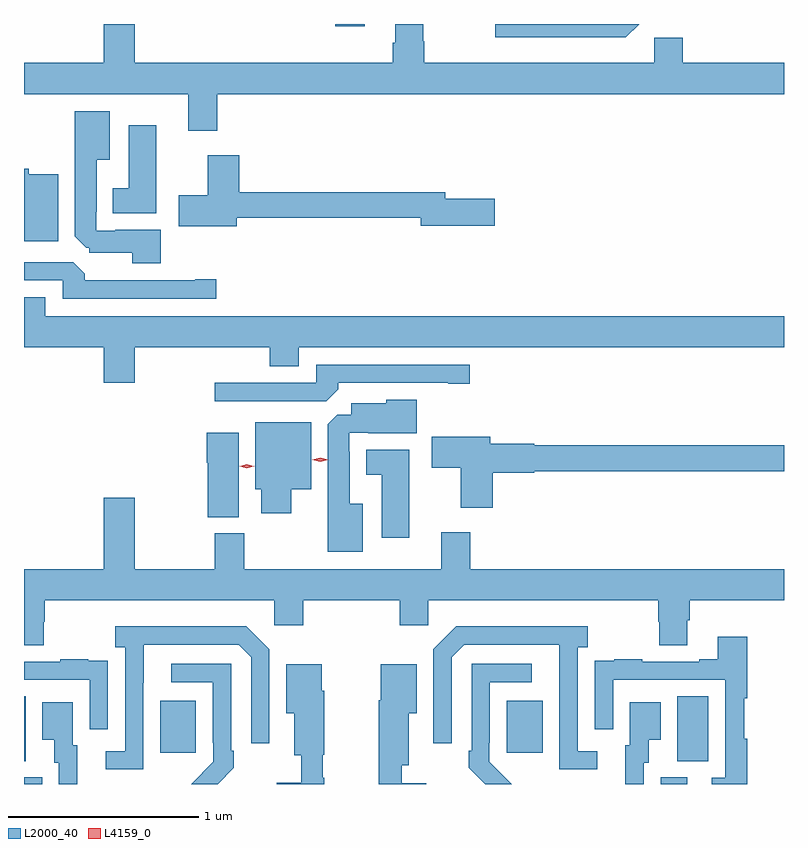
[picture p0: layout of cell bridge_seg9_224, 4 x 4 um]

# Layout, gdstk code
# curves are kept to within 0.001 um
import gdstk
lib = gdstk.Library(unit=1e-6, precision=1e-09)
def R(c, l, rs):  # rectangles x0, y0, x1, y1
    for r in rs: c.add(gdstk.rectangle(r[:2], r[2:], *l))
def P(c, l, *ps):  # polygons
    for p in ps: c.add(gdstk.Polygon(p, *l))
L2000_40 = (2000, 40)
L4159_0 = (4159, 0)

bridge_seg9_224 = lib.new_cell('bridge_seg9_224')
R(bridge_seg9_224, L2000_40, [(188.564,1203.445,188.659,1203.48), (191.915,1203.445,192.055,1203.48), (188.564,1203.565,188.572,1203.908), (192.002,1203.565,192.166,1203.908), (189.281,1203.609,189.469,1203.883), (191.105,1203.609,191.293,1203.883), (190.201,1207.434,190.357,1207.445)])
P(bridge_seg9_224, L2000_40, [(191.801,1207.445),(191.043,1207.445),(191.043,1207.376),(191.732,1207.376)],
  [(189.581,1207.076),(192.564,1207.076),(192.564,1207.24),(192.032,1207.24),(192.032,1207.372),(191.88,1207.372),(191.88,1207.24),(190.67,1207.24),(190.67,1207.353),(190.665,1207.353),(190.665,1207.445),(190.517,1207.445),(190.517,1207.346),(190.505,1207.346),(190.505,1207.24),(189.148,1207.24),(189.148,1207.445),(188.984,1207.445),(188.984,1207.24),(188.564,1207.24),(188.564,1207.076),(189.428,1207.076),(189.428,1206.882),(189.581,1206.882)],
  [(189.283,1206.361),(189.043,1206.361),(189.043,1206.357),(188.943,1206.357),(188.943,1206.457),(188.947,1206.457),(188.947,1206.731),(189.016,1206.731),(189.016,1206.985),(188.831,1206.985),(188.831,1206.327),(188.891,1206.267),(188.907,1206.267),(188.907,1206.24),(189.134,1206.24),(189.134,1206.185),(189.283,1206.185)],
  [(189.259,1206.913),(189.116,1206.913),(189.116,1206.58),(189.032,1206.58),(189.032,1206.449),(189.259,1206.449)],
  [(189.685,1206.424),(190.652,1206.424),(190.652,1206.382),(191.041,1206.382),(191.041,1206.524),(190.78,1206.524),(190.78,1206.56),(189.698,1206.56),(189.698,1206.754),(189.53,1206.754),(189.53,1206.543),(189.378,1206.543),(189.378,1206.38),(189.685,1206.38)],
  [(188.743,1206.655),(188.589,1206.655),(188.589,1206.682),(188.564,1206.682),(188.564,1206.302),(188.743,1206.302)],
  [(189.577,1206.101),(189.464,1206.101),(189.464,1206.096),(188.885,1206.096),(188.885,1206.13),(188.823,1206.192),(188.564,1206.192),(188.564,1206.096),(188.769,1206.096),(188.769,1206),(189.577,1206)],
  [(189.148,1205.744),(189.857,1205.744),(189.857,1205.645),(190.009,1205.645),(190.009,1205.744),(192.564,1205.744),(192.564,1205.908),(188.677,1205.908),(188.677,1206.007),(188.564,1206.007),(188.564,1205.744),(188.984,1205.744),(188.984,1205.556),(189.148,1205.556)],
  [(190.217,1205.522),(190.217,1205.556),(190.796,1205.556),(190.796,1205.551),(190.909,1205.551),(190.909,1205.652),(190.101,1205.652),(190.101,1205.556),(189.567,1205.556),(189.567,1205.46),(190.155,1205.46)],
  [(190.348,1204.921),(190.279,1204.921),(190.279,1205.195),(190.275,1205.195),(190.275,1205.295),(190.375,1205.295),(190.375,1205.291),(190.63,1205.291),(190.63,1205.467),(190.47,1205.467),(190.47,1205.449),(190.286,1205.449),(190.286,1205.388),(190.212,1205.388),(190.163,1205.339),(190.163,1204.667),(190.348,1204.667)],
  [(189.97,1204.997),(190.075,1204.997),(190.075,1205.35),(189.782,1205.35),(189.782,1204.997),(189.812,1204.997),(189.812,1204.869),(189.97,1204.869)],
  [(189.694,1205.293),(189.527,1205.293),(189.527,1205.135),(189.532,1205.135),(189.532,1204.849),(189.694,1204.849)],
  [(191.03,1205.084),(191.25,1205.084),(191.25,1205.092),(192.564,1205.092),(192.564,1205.228),(191.25,1205.228),(191.25,1205.236),(191.017,1205.236),(191.017,1205.272),(190.71,1205.272),(190.71,1205.11),(190.862,1205.11),(190.862,1204.899),(191.03,1204.899)],
  [(190.591,1205.203),(190.364,1205.203),(190.364,1205.072),(190.448,1205.072),(190.448,1204.74),(190.591,1204.74)],
  [(188.667,1204.299),(188.672,1204.299),(188.672,1204.412),(189.882,1204.412),(189.882,1204.281),(190.034,1204.281),(190.034,1204.412),(190.541,1204.412),(190.541,1204.281),(190.692,1204.281),(190.692,1204.412),(191.903,1204.412),(191.903,1204.299),(191.908,1204.299),(191.908,1204.174),(192.055,1204.174),(192.055,1204.306),(192.068,1204.306),(192.068,1204.412),(192.564,1204.412),(192.564,1204.576),(190.913,1204.576),(190.913,1204.771),(190.76,1204.771),(190.76,1204.576),(189.723,1204.576),(189.723,1204.764),(189.568,1204.764),(189.568,1204.576),(189.148,1204.576),(189.148,1204.951),(188.984,1204.951),(188.984,1204.576),(188.564,1204.576),(188.564,1204.174),(188.667,1204.174)],
  [(191.581,1203.618),(191.478,1203.618),(191.478,1204.166),(191.53,1204.166),(191.53,1204.276),(190.84,1204.276),(190.719,1204.155),(190.719,1203.66),(190.815,1203.66),(190.815,1204.113),(190.881,1204.179),(191.381,1204.179),(191.382,1203.522),(191.581,1203.522)],
  [(189.192,1203.979),(189.193,1204.179),(189.693,1204.179),(189.759,1204.113),(189.759,1203.66),(189.855,1203.66),(189.855,1204.155),(189.734,1204.276),(189.045,1204.276),(189.045,1204.166),(189.096,1204.166),(189.096,1203.618),(188.994,1203.618),(188.994,1203.522),(189.192,1203.522)],
  [(192.371,1203.684),(192.356,1203.684),(192.356,1203.896),(192.371,1203.896),(192.371,1204.219),(192.215,1204.219),(192.215,1204.102),(192.119,1204.102),(192.119,1204.089),(191.819,1204.089),(191.819,1204.102),(191.671,1204.102),(191.671,1204.095),(191.569,1204.095),(191.569,1203.986),(191.568,1203.986),(191.568,1203.732),(191.664,1203.732),(191.664,1203.993),(192.255,1203.993),(192.255,1203.477),(192.183,1203.477),(192.183,1203.445),(192.371,1203.445)],
  [(189.006,1203.986),(189.005,1203.986),(189.005,1204.095),(188.903,1204.095),(188.903,1204.102),(188.755,1204.102),(188.755,1204.089),(188.564,1204.089),(188.564,1203.993),(188.91,1203.993),(188.91,1203.732),(189.006,1203.732)],
  [(191.013,1203.561),(191.013,1203.661),(191.016,1203.661),(191.016,1203.981),(191.236,1203.981),(191.236,1204.077),(190.92,1204.077),(190.92,1203.619),(190.905,1203.619),(190.905,1203.531),(190.991,1203.445),(191.13,1203.445)],
  [(189.669,1203.531),(189.669,1203.619),(189.654,1203.619),(189.654,1204.077),(189.339,1204.077),(189.339,1203.981),(189.558,1203.981),(189.558,1203.661),(189.561,1203.661),(189.561,1203.561),(189.445,1203.445),(189.583,1203.445)],
  [(190.144,1203.479),(190.136,1203.479),(190.136,1203.6),(190.144,1203.6),(190.144,1203.936),(190.132,1203.936),(190.132,1204.075),(189.944,1204.075),(189.944,1203.818),(189.986,1203.818),(189.986,1203.596),(190.023,1203.596),(190.023,1203.451),(189.894,1203.451),(189.894,1203.445),(190.144,1203.445)],
  [(190.681,1203.45),(190.552,1203.45),(190.552,1203.545),(190.588,1203.545),(190.588,1203.818),(190.63,1203.818),(190.63,1204.075),(190.442,1204.075),(190.442,1203.885),(190.43,1203.885),(190.43,1203.445),(190.681,1203.445)],
  [(191.826,1203.558),(191.851,1203.558),(191.851,1203.677),(191.914,1203.677),(191.914,1203.874),(191.753,1203.874),(191.753,1203.648),(191.729,1203.648),(191.729,1203.445),(191.826,1203.445)],
  [(188.845,1203.648),(188.821,1203.648),(188.821,1203.874),(188.66,1203.874),(188.66,1203.677),(188.723,1203.677),(188.723,1203.558),(188.748,1203.558),(188.748,1203.445),(188.845,1203.445)])
P(bridge_seg9_224, L4159_0, [(190.123,1205.141),(190.081,1205.151),(190.081,1205.151),(190.081,1205.151),(190.123,1205.161),(190.164,1205.151),(190.164,1205.151),(190.164,1205.151)],
  [(189.737,1205.107),(189.7,1205.117),(189.699,1205.117),(189.7,1205.117),(189.737,1205.127),(189.774,1205.117),(189.775,1205.117),(189.774,1205.117)])

lib.write_gds('bridge_seg9_224.gds')
